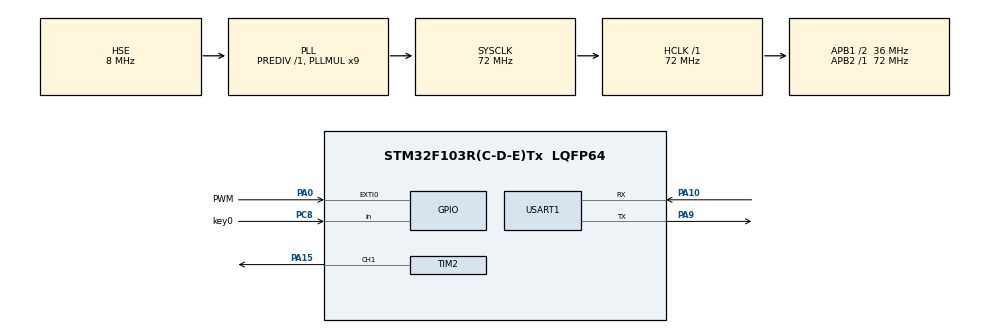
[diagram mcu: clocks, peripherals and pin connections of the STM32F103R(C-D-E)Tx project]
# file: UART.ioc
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Mcu.Family=STM32F1
Mcu.Name=STM32F103R(C-D-E)Tx
Mcu.Package=LQFP64
NVIC.EXTI0_IRQn=true\:0\:0\:false\:false\:true\:true\:true
NVIC.PriorityGroup=NVIC_PRIORITYGROUP_4
NVIC.TIM1_UP_IRQn=true\:0\:0\:false\:false\:true\:true\:true
NVIC.TIM2_IRQn=true\:15\:0\:true\:false\:true\:true\:true
PA0-WKUP.GPIO_Label=PWM
PA0-WKUP.GPIO_ModeDefaultEXTI=GPIO_MODE_IT_RISING
PA0-WKUP.GPIO_PuPd=GPIO_PULLDOWN
PA0-WKUP.Signal=GPXTI0
PA10.Mode=Asynchronous
PA10.Signal=USART1_RX
PA15.Signal=S_TIM2_CH1_ETR
PA9.Mode=Asynchronous
PA9.Signal=USART1_TX
PC8.GPIO_Label=key0
PC8.GPIO_PuPd=GPIO_PULLUP
PC8.Signal=GPIO_Input
PD0-OSC_IN.Mode=HSE-External-Oscillator
PD0-OSC_IN.Signal=RCC_OSC_IN
PD1-OSC_OUT.Mode=HSE-External-Oscillator
PD1-OSC_OUT.Signal=RCC_OSC_OUT
ProjectManager.HeapSize=0x200
ProjectManager.StackSize=0x400
ProjectManager.TargetToolchain=MDK-ARM V5
RCC.AHBFreq_Value=72000000
RCC.APB1CLKDivider=RCC_HCLK_DIV2
RCC.APB1Freq_Value=36000000
RCC.APB1TimFreq_Value=72000000
RCC.APB2Freq_Value=72000000
RCC.APB2TimFreq_Value=72000000
RCC.HCLKFreq_Value=72000000
RCC.PLLMUL=RCC_PLL_MUL9
RCC.PLLSourceVirtual=RCC_PLLSOURCE_HSE
RCC.SYSCLKFreq_VALUE=72000000
RCC.SYSCLKSource=RCC_SYSCLKSOURCE_PLLCLK
RCC.USBFreq_Value=72000000
SH.S_TIM2_CH1_ETR.0=TIM2_CH1,PWM Generation1 CH1
TIM1.Period=1000-1
TIM1.Prescaler=72-1
TIM2.Channel-PWM\ Generation1\ CH1=TIM_CHANNEL_1
TIM2.Period=1000-1
TIM2.Prescaler=720-1
USART1.VirtualMode=VM_ASYNC
VP_SYS_VS_ND.Mode=No_Debug
VP_TIM1_VS_ClockSourceINT.Mode=Internal
VP_TIM2_VS_ClockSourceINT.Mode=Internal
board=custom

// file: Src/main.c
/* USER CODE BEGIN Header */
/**
  ******************************************************************************
  * @file           : main.c
  * @brief          : Main program body
  ******************************************************************************
  * @attention
  *
  * <h2><center>&copy; Copyright (c) 2020 STMicroelectronics.
  * All rights reserved.</center></h2>
  *
  * This software component is licensed by ST under BSD 3-Clause license,
  * the "License"; You may not use this file except in compliance with the
  * License. You may obtain a copy of the License at:
  *                        opensource.org/licenses/BSD-3-Clause
  *
  ******************************************************************************
  */
/* USER CODE END Header */

#include "main.h"
#include "tim.h"
#include "usart.h"
#include "gpio.h"

/* USER CODE BEGIN Includes */
#include  <stdio.h>
/* USER CODE END Includes */

/* USER CODE BEGIN PV */
int pwm_value_final = 0;
int time=0;
int flag = 0;
/* USER CODE END PV */

void SystemClock_Config(void);

/* USER CODE BEGIN 0 */
int fputc(int ch, FILE *f){
	uint8_t temp[1] = {ch};
	HAL_UART_Transmit(&huart1,temp,1,2);
	return ch;
}

/* USER CODE END 0 */

int main(void)
{

  /* MCU Configuration--------------------------------------------------------*/

  /* Reset of all peripherals, Initializes the Flash interface and the Systick. */
  HAL_Init();

  /* Configure the system clock */
  SystemClock_Config();

  /* Initialize all configured peripherals */
  MX_GPIO_Init();
  MX_USART1_UART_Init();
  MX_TIM1_Init();
  MX_TIM2_Init();
  /* USER CODE BEGIN 2 */
	//HAL_TIM_Base_Start_IT(&htim1);
	HAL_TIM_Base_Start_IT(&htim2);
	//HAL_TIM_PWM_Start(&htim2,TIM_CHANNEL_1);
  /* USER CODE END 2 */

  /* Infinite loop */
  /* USER CODE BEGIN WHILE */
  while (1)
  {
//		if( HAL_GPIO_ReadPin(GPIOC,GPIO_PIN_8) == GPIO_PIN_RESET){
//			HAL_TIM_Base_Start_IT(&htim1);
//		}
//		if(HAL_GPIO_ReadPin(GPIOC,GPIO_PIN_8) == GPIO_PIN_SET){
//			HAL_TIM_Base_Stop_IT(&htim1);
//    }
    /* USER CODE END WHILE */

  }
}

void SystemClock_Config(void)
{
  RCC_OscInitTypeDef RCC_OscInitStruct = {0};
  RCC_ClkInitTypeDef RCC_ClkInitStruct = {0};

  /** Initializes the CPU, AHB and APB busses clocks
  */
  RCC_OscInitStruct.OscillatorType = RCC_OSCILLATORTYPE_HSE;
  RCC_OscInitStruct.HSEState = RCC_HSE_ON;
  RCC_OscInitStruct.HSEPredivValue = RCC_HSE_PREDIV_DIV1;
  RCC_OscInitStruct.HSIState = RCC_HSI_ON;
  RCC_OscInitStruct.PLL.PLLState = RCC_PLL_ON;
  RCC_OscInitStruct.PLL.PLLSource = RCC_PLLSOURCE_HSE;
  RCC_OscInitStruct.PLL.PLLMUL = RCC_PLL_MUL9;
  if (HAL_RCC_OscConfig(&RCC_OscInitStruct) != HAL_OK)
  {
    Error_Handler();
  }
  /** Initializes the CPU, AHB and APB busses clocks
  */
  RCC_ClkInitStruct.ClockType = RCC_CLOCKTYPE_HCLK|RCC_CLOCKTYPE_SYSCLK
                              |RCC_CLOCKTYPE_PCLK1|RCC_CLOCKTYPE_PCLK2;
  RCC_ClkInitStruct.SYSCLKSource = RCC_SYSCLKSOURCE_PLLCLK;
  RCC_ClkInitStruct.AHBCLKDivider = RCC_SYSCLK_DIV1;
  RCC_ClkInitStruct.APB1CLKDivider = RCC_HCLK_DIV2;
  RCC_ClkInitStruct.APB2CLKDivider = RCC_HCLK_DIV1;

  if (HAL_RCC_ClockConfig(&RCC_ClkInitStruct, FLASH_LATENCY_2) != HAL_OK)
  {
    Error_Handler();
  }
}

/* USER CODE BEGIN 4 */
int pwm_sum,pwm_avg,pwm_value,p;
void HAL_GPIO_EXTI_Callback(uint16_t GPIO_Pin) {
		if(HAL_GPIO_ReadPin(GPIOC,GPIO_PIN_8) == GPIO_Pin){
        HAL_Delay(10);
        if(1 == HAL_GPIO_ReadPin(GPIOC,GPIO_PIN_8))
            printf( "wake up key pressed \r\n");
		}
		else if(HAL_GPIO_ReadPin(GPIOC,GPIO_PIN_8) == GPIO_Pin){
					HAL_Delay(10);
					if(0 == HAL_GPIO_ReadPin(GPIOC,GPIO_PIN_8))
            printf("key 0 pressed\n");
		}
		HAL_Delay(100);
    __HAL_GPIO_EXTI_CLEAR_IT(GPIO_Pin);

}

void HAL_TIM_PeriodElapsedCallback(TIM_HandleTypeDef *htim) {
	if (htim->Instance == htim1.Instance ) {
	//	pwm_sum += pwm_value * 10; //pwm_sum累加
	//	pwm_sum -= pwm_avg; //pwm_sum减去上次的平均值
	//	pwm_avg = pwm_sum * 1.0 / 5; //更新pwm的平均值
	//	pwm_value_final = pwm_avg; //pwm_value_final的值即为当前pwm的频率
	//	pwm_value = 0;

						printf("%d ms\r\n",time++);
		}

	if (htim->Instance == htim2.Instance ) {
			if( HAL_GPIO_ReadPin(GPIOC,GPIO_PIN_8) == GPIO_PIN_RESET){
					p=1;
				for(int i =0; i<2;i++){
					HAL_Delay(200);
					if( HAL_GPIO_ReadPin(GPIOC,GPIO_PIN_8) == GPIO_PIN_RESET) p++;
				}
					if(p>2) p=2;
						switch(p){
							case 1:
								flag = flag==1 ? 0 : 1;
								if(flag==1) HAL_TIM_Base_Start_IT(&htim1);
								else HAL_TIM_Base_Stop_IT(&htim1);
								p=0;
								break;
							case 2:
								HAL_TIM_Base_Stop_IT(&htim1);
								time = 0;
								flag = 0;
								p=0;
								printf("已清零 \r\n");
								break;
							default:
								HAL_TIM_Base_Stop_IT(&htim1);
								break;
						}

			}
	}
}

/* USER CODE END 4 */

void Error_Handler(void)
{
}

/************************ (C) COPYRIGHT STMicroelectronics *****END OF FILE****/
